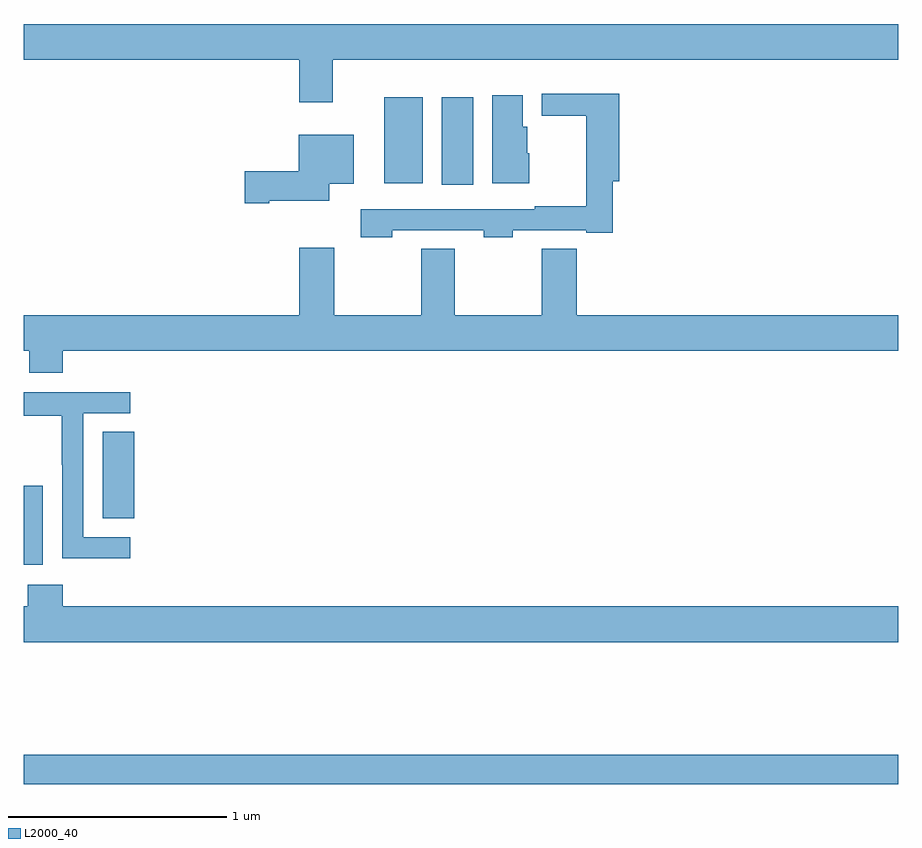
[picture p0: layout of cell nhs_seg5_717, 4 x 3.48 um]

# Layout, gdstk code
import gdstk
lib = gdstk.Library(unit=1e-6, precision=1e-09)
def R(c, l, rs):  # rectangles x0, y0, x1, y1
    for r in rs: c.add(gdstk.rectangle(r[:2], r[2:], *l))
def P(c, l, *ps):  # polygons
    for p in ps: c.add(gdstk.Polygon(p, *l))
L2000_40 = (2000, 40)

nhs_seg5_717 = lib.new_cell('nhs_seg5_717')
R(nhs_seg5_717, L2000_40, [(157,834.799,161,834.932), (157,835.802,157.087,836.163), (157.361,836.014,157.505,836.411), (158.912,837.54,159.055,837.94), (158.648,837.548,158.824,837.94)])
P(nhs_seg5_717, L2000_40, [(158.413,838.112),(161,838.112),(161,838.276),(157,838.276),(157,838.112),(158.261,838.112),(158.261,837.918),(158.413,837.918)],
  [(158.685,837.333),(159.105,837.333),(159.105,837.301),(159.237,837.301),(159.237,837.333),(159.572,837.333),(159.572,837.321),(159.695,837.321),(159.695,837.557),(159.725,837.557),(159.725,837.958),(159.369,837.958),(159.369,837.856),(159.572,837.856),(159.572,837.693),(159.574,837.693),(159.574,837.442),(159.337,837.442),(159.337,837.429),(158.541,837.429),(158.541,837.301),(158.685,837.301)],
  [(159.313,837.684),(159.304,837.684),(159.304,837.807),(159.283,837.807),(159.283,837.949),(159.143,837.949),(159.143,837.548),(159.313,837.548)],
  [(158.122,837.467),(158.398,837.467),(158.398,837.545),(158.509,837.545),(158.509,837.769),(158.258,837.769),(158.258,837.602),(158.01,837.602),(158.01,837.455),(158.122,837.455)],
  [(157,836.78),(157.025,836.78),(157.025,836.681),(157.178,836.681),(157.178,836.78),(161,836.78),(161,836.944),(159.53,836.944),(159.53,837.248),(159.37,837.248),(159.37,836.944),(158.972,836.944),(158.972,837.248),(158.818,837.248),(158.818,836.944),(158.421,836.944),(158.421,837.253),(158.261,837.253),(158.261,836.944),(157,836.944)],
  [(157.486,835.929),(157.272,835.929),(157.272,836.496),(157.486,836.496),(157.486,836.592),(157,836.592),(157,836.484),(157.174,836.484),(157.174,836.26),(157.176,836.26),(157.176,835.831),(157.486,835.831)],
  [(161,835.612),(157.178,835.612),(157.178,835.711),(157.018,835.711),(157.018,835.612),(157,835.612),(157,835.448),(161,835.448)])

lib.write_gds('nhs_seg5_717.gds')
